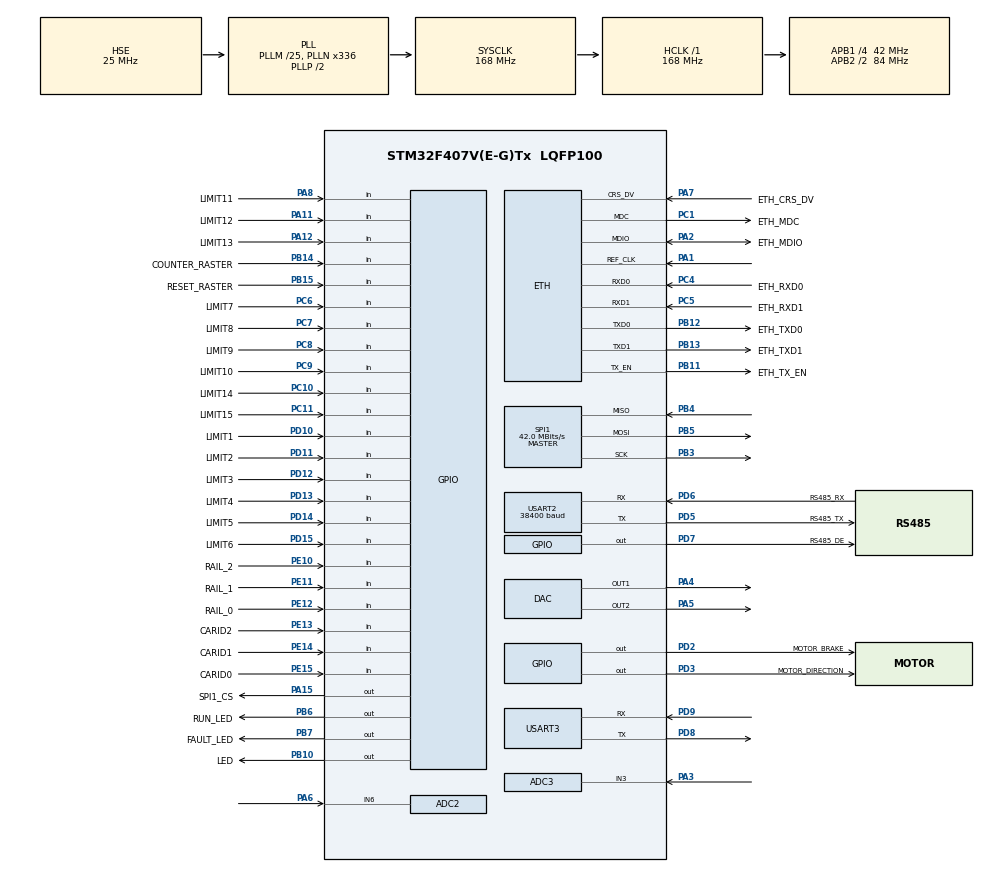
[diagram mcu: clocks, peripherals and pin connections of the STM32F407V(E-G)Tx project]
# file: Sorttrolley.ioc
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ADC2.Channel-0\#ChannelRegularConversion=ADC_CHANNEL_6
ADC2.ContinuousConvMode=ENABLE
ADC2.DMAContinuousRequests=ENABLE
ADC2.NbrOfConversion=1
ADC2.NbrOfConversionFlag=1
ADC2.Rank-0\#ChannelRegularConversion=1
ADC2.SamplingTime-0\#ChannelRegularConversion=ADC_SAMPLETIME_3CYCLES
ADC3.Channel-1\#ChannelRegularConversion=ADC_CHANNEL_3
ADC3.ContinuousConvMode=ENABLE
ADC3.DMAContinuousRequests=ENABLE
ADC3.NbrOfConversionFlag=1
ADC3.Rank-1\#ChannelRegularConversion=1
ADC3.SamplingTime-1\#ChannelRegularConversion=ADC_SAMPLETIME_3CYCLES
DAC.DAC_Trigger2=DAC_TRIGGER_NONE
Dma.ADC2.0.Direction=DMA_PERIPH_TO_MEMORY
Dma.ADC2.0.FIFOMode=DMA_FIFOMODE_DISABLE
Dma.ADC2.0.Instance=DMA2_Stream2
Dma.ADC2.0.MemDataAlignment=DMA_MDATAALIGN_HALFWORD
Dma.ADC2.0.MemInc=DMA_MINC_ENABLE
Dma.ADC2.0.Mode=DMA_CIRCULAR
Dma.ADC2.0.PeriphDataAlignment=DMA_PDATAALIGN_HALFWORD
Dma.ADC2.0.PeriphInc=DMA_PINC_DISABLE
Dma.ADC2.0.Priority=DMA_PRIORITY_LOW
Dma.ADC3.1.Direction=DMA_PERIPH_TO_MEMORY
Dma.ADC3.1.FIFOMode=DMA_FIFOMODE_DISABLE
Dma.ADC3.1.Instance=DMA2_Stream0
Dma.ADC3.1.MemDataAlignment=DMA_MDATAALIGN_HALFWORD
Dma.ADC3.1.MemInc=DMA_MINC_ENABLE
Dma.ADC3.1.Mode=DMA_CIRCULAR
Dma.ADC3.1.PeriphDataAlignment=DMA_PDATAALIGN_HALFWORD
Dma.ADC3.1.PeriphInc=DMA_PINC_DISABLE
Dma.ADC3.1.Priority=DMA_PRIORITY_LOW
Dma.Request0=ADC2
Dma.Request1=ADC3
Dma.Request2=USART2_TX
Dma.USART2_TX.2.Direction=DMA_MEMORY_TO_PERIPH
Dma.USART2_TX.2.FIFOMode=DMA_FIFOMODE_DISABLE
Dma.USART2_TX.2.Instance=DMA1_Stream6
Dma.USART2_TX.2.MemDataAlignment=DMA_MDATAALIGN_BYTE
Dma.USART2_TX.2.MemInc=DMA_MINC_ENABLE
Dma.USART2_TX.2.Mode=DMA_NORMAL
Dma.USART2_TX.2.PeriphDataAlignment=DMA_PDATAALIGN_BYTE
Dma.USART2_TX.2.PeriphInc=DMA_PINC_DISABLE
Dma.USART2_TX.2.Priority=DMA_PRIORITY_LOW
ETH.MediaInterface=HAL_ETH_RMII_MODE
ETH.PHY_Name_RMII=DP83848_PHY_ADDRESS
ETH.RxMode=ETH_RXINTERRUPT_MODE
FREERTOS.Tasks01=defaultTask,0,512,StartDefaultTask,Default,NULL,Dynamic,NULL,NULL
FREERTOS.configENABLE_FPU=1
FREERTOS.configMAX_TASK_NAME_LEN=32
FREERTOS.configMINIMAL_STACK_SIZE=256
FREERTOS.configQUEUE_REGISTRY_SIZE=16
FREERTOS.configTIMER_TASK_STACK_DEPTH=256
FREERTOS.configTOTAL_HEAP_SIZE=51200
FREERTOS.configUSE_COUNTING_SEMAPHORES=1
FREERTOS.configUSE_TIMERS=1
IWDG.Prescaler=IWDG_PRESCALER_32
IWDG.Reload=1200
LWIP.BSP.number=1
LWIP.GATEWAY_ADDRESS=192.168.010.001
LWIP.IP_ADDRESS=192.168.010.109
LWIP.LWIP_DHCP=0
LWIP.LWIP_NETIF_STATUS_CALLBACK=1
LWIP.NETMASK_ADDRESS=255.255.255.000
LWIP.Version=v2.1.2_Cube
LWIP0.BSP.STBoard=false
LWIP0.BSP.api=BSP_COMPONENT_DRIVER
LWIP0.BSP.component=DP83848
LWIP0.BSP.instance=DP83848
LWIP0.BSP.name=Driver_PHY
LWIP0.BSP.semaphore=S_DP83848
LWIP0.BSP.solution=DP83848
Mcu.Family=STM32F4
Mcu.Name=STM32F407V(E-G)Tx
Mcu.Package=LQFP100
NVIC.DMA1_Stream6_IRQn=true\:5\:0\:false\:false\:true\:true\:false\:true\:true
NVIC.DMA2_Stream0_IRQn=true\:5\:0\:false\:false\:true\:true\:false\:true\:true
NVIC.DMA2_Stream2_IRQn=true\:5\:0\:false\:false\:true\:true\:false\:true\:true
NVIC.ETH_IRQn=true\:5\:0\:false\:false\:true\:true\:false\:true\:true
NVIC.PriorityGroup=NVIC_PRIORITYGROUP_4
NVIC.TIM2_IRQn=true\:5\:0\:false\:false\:true\:true\:true\:true\:true
NVIC.TIM7_IRQn=true\:15\:0\:false\:false\:true\:false\:false\:true\:true
NVIC.TimeBase=TIM7_IRQn
NVIC.TimeBaseIP=TIM7
NVIC.USART2_IRQn=true\:5\:0\:false\:false\:true\:true\:true\:true\:true
PA1.Mode=RMII
PA1.Signal=ETH_REF_CLK
PA11.GPIO_Label=LIMIT12
PA11.Signal=GPIO_Input
PA12.GPIO_Label=LIMIT13
PA12.Signal=GPIO_Input
PA13.Mode=Serial_Wire
PA13.Signal=SYS_JTMS-SWDIO
PA14.Mode=Serial_Wire
PA14.Signal=SYS_JTCK-SWCLK
PA15.GPIO_Label=SPI1_CS
PA15.GPIO_Speed=GPIO_SPEED_FREQ_HIGH
PA15.Signal=GPIO_Output
PA2.GPIO_Label=ETH_MDIO
PA2.Mode=RMII
PA2.Signal=ETH_MDIO
PA3.Signal=ADCx_IN3
PA4.Signal=COMP_DAC1_group
PA5.Signal=COMP_DAC2_group
PA6.Signal=ADCx_IN6
PA7.GPIO_Label=ETH_CRS_DV
PA7.Mode=RMII
PA7.Signal=ETH_CRS_DV
PA8.GPIO_Label=LIMIT11
PA8.Signal=GPIO_Input
PB10.GPIO_Label=LED
PB10.GPIO_Speed=GPIO_SPEED_FREQ_HIGH
PB10.Signal=GPIO_Output
PB11.GPIO_Label=ETH_TX_EN
PB11.Mode=RMII
PB11.Signal=ETH_TX_EN
PB12.GPIO_Label=ETH_TXD0
PB12.Mode=RMII
PB12.Signal=ETH_TXD0
PB13.GPIO_Label=ETH_TXD1
PB13.Mode=RMII
PB13.Signal=ETH_TXD1
PB14.GPIO_Label=COUNTER_RASTER
PB14.Signal=GPIO_Input
PB15.GPIO_Label=RESET_RASTER
PB15.Signal=GPIO_Input
PB3.Mode=Full_Duplex_Master
PB3.Signal=SPI1_SCK
PB4.Mode=Full_Duplex_Master
PB4.Signal=SPI1_MISO
PB5.Mode=Full_Duplex_Master
PB5.Signal=SPI1_MOSI
PB6.GPIO_Label=RUN_LED
PB6.GPIO_Speed=GPIO_SPEED_FREQ_HIGH
PB6.PinState=GPIO_PIN_SET
PB6.Signal=GPIO_Output
PB7.GPIO_Label=FAULT_LED
PB7.GPIO_Speed=GPIO_SPEED_FREQ_HIGH
PB7.Signal=GPIO_Output
PC1.GPIO_Label=ETH_MDC
PC1.Mode=RMII
PC1.Signal=ETH_MDC
PC10.GPIO_Label=LIMIT14
PC10.Signal=GPIO_Input
PC11.GPIO_Label=LIMIT15
PC11.Signal=GPIO_Input
PC14-OSC32_IN.Mode=LSE-External-Oscillator
PC14-OSC32_IN.Signal=RCC_OSC32_IN
PC15-OSC32_OUT.Mode=LSE-External-Oscillator
PC15-OSC32_OUT.Signal=RCC_OSC32_OUT
PC4.GPIO_Label=ETH_RXD0
PC4.Mode=RMII
PC4.Signal=ETH_RXD0
PC5.GPIO_Label=ETH_RXD1
PC5.Mode=RMII
PC5.Signal=ETH_RXD1
PC6.GPIO_Label=LIMIT7
PC6.Signal=GPIO_Input
PC7.GPIO_Label=LIMIT8
PC7.Signal=GPIO_Input
PC8.GPIO_Label=LIMIT9
PC8.Signal=GPIO_Input
PC9.GPIO_Label=LIMIT10
PC9.Signal=GPIO_Input
PD10.GPIO_Label=LIMIT1
PD10.Signal=GPIO_Input
PD11.GPIO_Label=LIMIT2
PD11.Signal=GPIO_Input
PD12.GPIO_Label=LIMIT3
PD12.Signal=GPIO_Input
PD13.GPIO_Label=LIMIT4
PD13.Signal=GPIO_Input
PD14.GPIO_Label=LIMIT5
PD14.Signal=GPIO_Input
PD15.GPIO_Label=LIMIT6
PD15.Signal=GPIO_Input
PD2.GPIO_Label=MOTOR_BRAKE
PD2.GPIO_Speed=GPIO_SPEED_FREQ_HIGH
PD2.PinState=GPIO_PIN_SET
PD2.Signal=GPIO_Output
PD3.GPIO_Label=MOTOR_DIRECTION
PD3.GPIO_Speed=GPIO_SPEED_FREQ_HIGH
PD3.PinState=GPIO_PIN_SET
PD3.Signal=GPIO_Output
PD5.GPIO_Label=RS485_TX
PD5.Mode=Asynchronous
PD5.Signal=USART2_TX
PD6.GPIO_Label=RS485_RX
PD6.Mode=Asynchronous
PD6.Signal=USART2_RX
PD7.GPIO_Label=RS485_DE
PD7.GPIO_Speed=GPIO_SPEED_FREQ_HIGH
PD7.PinState=GPIO_PIN_SET
PD7.Signal=GPIO_Output
PD8.Mode=Asynchronous
PD8.Signal=USART3_TX
PD9.Mode=Asynchronous
PD9.Signal=USART3_RX
PE10.GPIO_Label=RAIL_2
PE10.Signal=GPIO_Input
PE11.GPIO_Label=RAIL_1
PE11.Signal=GPIO_Input
PE12.GPIO_Label=RAIL_0
PE12.Signal=GPIO_Input
PE13.GPIO_Label=CARID2
PE13.Signal=GPIO_Input
PE14.GPIO_Label=CARID1
PE14.Signal=GPIO_Input
PE15.GPIO_Label=CARID0
PE15.Signal=GPIO_Input
PH0-OSC_IN.Mode=HSE-External-Oscillator
PH0-OSC_IN.Signal=RCC_OSC_IN
PH1-OSC_OUT.Mode=HSE-External-Oscillator
PH1-OSC_OUT.Signal=RCC_OSC_OUT
ProjectManager.HeapSize=0x400
ProjectManager.StackSize=0x800
ProjectManager.TargetToolchain=MDK-ARM V5.27
RCC.48MHZClocksFreq_Value=84000000
RCC.AHBFreq_Value=168000000
RCC.APB1CLKDivider=RCC_HCLK_DIV4
RCC.APB1Freq_Value=42000000
RCC.APB1TimFreq_Value=84000000
RCC.APB2CLKDivider=RCC_HCLK_DIV2
RCC.APB2Freq_Value=84000000
RCC.APB2TimFreq_Value=168000000
RCC.CortexFreq_Value=168000000
RCC.HCLKFreq_Value=168000000
RCC.HSE_VALUE=25000000
RCC.HSI_VALUE=16000000
RCC.PLLM=25
RCC.PLLN=336
RCC.PLLSourceVirtual=RCC_PLLSOURCE_HSE
RCC.SYSCLKFreq_VALUE=168000000
RCC.SYSCLKSource=RCC_SYSCLKSOURCE_PLLCLK
RCC.VCOOutputFreq_Value=336000000
SH.ADCx_IN3.0=ADC3_IN3,IN3
SH.ADCx_IN6.0=ADC2_IN6,IN6
SH.COMP_DAC1_group.0=DAC_OUT1,DAC_OUT1
SH.COMP_DAC2_group.0=DAC_OUT2,DAC_OUT2
SPI1.CalculateBaudRate=42.0 MBits/s
SPI1.Direction=SPI_DIRECTION_2LINES
SPI1.Mode=SPI_MODE_MASTER
SPI1.VirtualType=VM_MASTER
TIM2.AutoReloadPreload=TIM_AUTORELOAD_PRELOAD_ENABLE
TIM2.Period=10-1
TIM2.Prescaler=8400-1
USART2.BaudRate=38400
USART2.VirtualMode=VM_ASYNC
USART3.VirtualMode=VM_ASYNC
VP_FREERTOS_VS_CMSIS_V1.Mode=CMSIS_V1
VP_IWDG_VS_IWDG.Mode=IWDG_Activate
VP_LWIP_VS_Enabled.Mode=Enabled
VP_SYS_VS_tim7.Mode=TIM7
VP_TIM2_VS_ClockSourceINT.Mode=Internal
board=custom

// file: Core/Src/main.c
/* USER CODE BEGIN Header */
/**
  ******************************************************************************
  * @file           : main.c
  * @brief          : Main program body
  ******************************************************************************
  * @attention
  *
  * Copyright (c) 2022 STMicroelectronics.
  * All rights reserved.
  *
  * This software is licensed under terms that can be found in the LICENSE file
  * in the root directory of this software component.
  * If no LICENSE file comes with this software, it is provided AS-IS.
  *
  ******************************************************************************
  */
/* USER CODE END Header */
#include "main.h"
#include "cmsis_os.h"
#include "adc.h"
#include "dac.h"
#include "dma.h"
#include "iwdg.h"
#include "lwip.h"
#include "spi.h"
#include "tim.h"
#include "usart.h"
#include "gpio.h"

/* USER CODE BEGIN Includes */
#include "app_car_control.h"
#include "iwdg_driver.h"
/* USER CODE END Includes */

void SystemClock_Config(void);
void MX_FREERTOS_Init(void);

int main(void)
{

  /* MCU Configuration--------------------------------------------------------*/

  /* Reset of all peripherals, Initializes the Flash interface and the Systick. */
  HAL_Init();

  /* Configure the system clock */
  SystemClock_Config();

  /* Initialize all configured peripherals */
  MX_GPIO_Init();
  MX_DMA_Init();
  MX_USART2_UART_Init();
  MX_DAC_Init();
  MX_USART3_UART_Init();
  MX_TIM2_Init();
  MX_SPI1_Init();
  MX_ADC2_Init();
  MX_ADC3_Init();
  MX_IWDG_Init();
  /* USER CODE BEGIN 2 */
	iwdg_feeddog();
  /* USER CODE END 2 */

  /* Call init function for freertos objects (in freertos.c) */
  MX_FREERTOS_Init();

  /* Start scheduler */
  osKernelStart();

  /* We should never get here as control is now taken by the scheduler */
  /* Infinite loop */
  while (1)
  {

  }
}

void SystemClock_Config(void)
{
  RCC_OscInitTypeDef RCC_OscInitStruct = {0};
  RCC_ClkInitTypeDef RCC_ClkInitStruct = {0};

  /** Configure the main internal regulator output voltage
  */
  __HAL_RCC_PWR_CLK_ENABLE();
  __HAL_PWR_VOLTAGESCALING_CONFIG(PWR_REGULATOR_VOLTAGE_SCALE1);

  /** Initializes the RCC Oscillators according to the specified parameters
  * in the RCC_OscInitTypeDef structure.
  */
  RCC_OscInitStruct.OscillatorType = RCC_OSCILLATORTYPE_LSI|RCC_OSCILLATORTYPE_HSE;
  RCC_OscInitStruct.HSEState = RCC_HSE_ON;
  RCC_OscInitStruct.LSIState = RCC_LSI_ON;
  RCC_OscInitStruct.PLL.PLLState = RCC_PLL_ON;
  RCC_OscInitStruct.PLL.PLLSource = RCC_PLLSOURCE_HSE;
  RCC_OscInitStruct.PLL.PLLM = 25;
  RCC_OscInitStruct.PLL.PLLN = 336;
  RCC_OscInitStruct.PLL.PLLP = RCC_PLLP_DIV2;
  RCC_OscInitStruct.PLL.PLLQ = 4;
  if (HAL_RCC_OscConfig(&RCC_OscInitStruct) != HAL_OK)
  {
    Error_Handler();
  }

  /** Initializes the CPU, AHB and APB buses clocks
  */
  RCC_ClkInitStruct.ClockType = RCC_CLOCKTYPE_HCLK|RCC_CLOCKTYPE_SYSCLK
                              |RCC_CLOCKTYPE_PCLK1|RCC_CLOCKTYPE_PCLK2;
  RCC_ClkInitStruct.SYSCLKSource = RCC_SYSCLKSOURCE_PLLCLK;
  RCC_ClkInitStruct.AHBCLKDivider = RCC_SYSCLK_DIV1;
  RCC_ClkInitStruct.APB1CLKDivider = RCC_HCLK_DIV4;
  RCC_ClkInitStruct.APB2CLKDivider = RCC_HCLK_DIV2;

  if (HAL_RCC_ClockConfig(&RCC_ClkInitStruct, FLASH_LATENCY_5) != HAL_OK)
  {
    Error_Handler();
  }
}

void HAL_TIM_PeriodElapsedCallback(TIM_HandleTypeDef *htim)
{
  /* USER CODE BEGIN Callback 0 */
	if(htim->Instance == TIM2)
	{
		//处理光栅计数、车速闭环控制、限位检测
		handle_tim_irq();
	}
  /* USER CODE END Callback 0 */
  if (htim->Instance == TIM7) {
    HAL_IncTick();
  }
}

void Error_Handler(void)
{
  /* USER CODE BEGIN Error_Handler_Debug */
  /* User can add his own implementation to report the HAL error return state */
//  __disable_irq();
//  while (1)
//  {
//  }
  /* USER CODE END Error_Handler_Debug */
}

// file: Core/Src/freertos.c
/* USER CODE BEGIN Header */
/**
  ******************************************************************************
  * File Name          : freertos.c
  * Description        : Code for freertos applications
  ******************************************************************************
  * @attention
  *
  * Copyright (c) 2022 STMicroelectronics.
  * All rights reserved.
  *
  * This software is licensed under terms that can be found in the LICENSE file
  * in the root directory of this software component.
  * If no LICENSE file comes with this software, it is provided AS-IS.
  *
  ******************************************************************************
  */
/* USER CODE END Header */

#include "FreeRTOS.h"
#include "task.h"
#include "main.h"
#include "cmsis_os.h"

/* USER CODE BEGIN Includes */
#include <stdio.h>
#include "system_tick.h"
#include "app_rs485.h"
#include "app_modbustcp_tx_rx.h"
#include "app_car_control.h"
#include "motor_driver.h"
#include "led_driver.h"
#include "raster_driver.h"
#include "app_eth_tcp_udp.h"
#include "app_diagnosis.h"
#include "easyflash.h"
#include "iwdg_driver.h"
#include "app_mqtt_tx.h"
#include "app_mqtt_rx.h"
#include "flash_parameter.h"
#include "usart_dma_driver.h"
/* USER CODE END Includes */

/* USER CODE BEGIN PD */
#define DEBUG_FREERTOS  // printf
#ifdef DEBUG_FREERTOS
#define print_freertos_log(fmt, ...) printf(fmt, ##__VA_ARGS__)
#else
#define print_freertos_log(fmt, ...)
#endif
/* USER CODE END PD */

/* USER CODE BEGIN PM */
#define PRINT_TICK_PERIOD	1000
/* USER CODE END PM */

/* USER CODE BEGIN Variables */
void rt_show_version(void)
{
    printf("\n \\ | /\n");
    printf("- FreeRtos  Thread Operating System\n");
    printf(" / | \\     osCMSIS:%d.%02d,%s\n",
    		(osCMSIS>>16),(osCMSIS&0xffff),osKernelSystemId);
    printf("sort trolley systemboard software version: %d,haraware version: %d\r\n",RT_SOFTWARE_VERSION,RT_HARDWARE_VERSION);
    printf("sort trolley systemboard build %s\r\n",__DATE__);
}
/* USER CODE END Variables */
osThreadId defaultTaskHandle;

/* USER CODE BEGIN FunctionPrototypes */
osThreadId carHandle;
osThreadId rs485Handle;
osThreadId ethHandle;
osThreadId diagnosisHandle;
osThreadId mqttTxHandle;
osThreadId mqttRXHandle;
/* USER CODE END FunctionPrototypes */

void StartDefaultTask(void const * argument);

extern void MX_LWIP_Init(void);
void MX_FREERTOS_Init(void); /* (MISRA C 2004 rule 8.1) */

/* GetIdleTaskMemory prototype (linked to static allocation support) */
void vApplicationGetIdleTaskMemory( StaticTask_t **ppxIdleTaskTCBBuffer, StackType_t **ppxIdleTaskStackBuffer, uint32_t *pulIdleTaskStackSize );

/* GetTimerTaskMemory prototype (linked to static allocation support) */
void vApplicationGetTimerTaskMemory( StaticTask_t **ppxTimerTaskTCBBuffer, StackType_t **ppxTimerTaskStackBuffer, uint32_t *pulTimerTaskStackSize );

/* USER CODE BEGIN GET_IDLE_TASK_MEMORY */
static StaticTask_t xIdleTaskTCBBuffer;
static StackType_t xIdleStack[configMINIMAL_STACK_SIZE];

void vApplicationGetIdleTaskMemory( StaticTask_t **ppxIdleTaskTCBBuffer, StackType_t **ppxIdleTaskStackBuffer, uint32_t *pulIdleTaskStackSize )
{
  *ppxIdleTaskTCBBuffer = &xIdleTaskTCBBuffer;
  *ppxIdleTaskStackBuffer = &xIdleStack[0];
  *pulIdleTaskStackSize = configMINIMAL_STACK_SIZE;
  /* place for user code */
}
/* USER CODE END GET_IDLE_TASK_MEMORY */

/* USER CODE BEGIN GET_TIMER_TASK_MEMORY */
static StaticTask_t xTimerTaskTCBBuffer;
static StackType_t xTimerStack[configTIMER_TASK_STACK_DEPTH];

void vApplicationGetTimerTaskMemory( StaticTask_t **ppxTimerTaskTCBBuffer, StackType_t **ppxTimerTaskStackBuffer, uint32_t *pulTimerTaskStackSize )
{
  *ppxTimerTaskTCBBuffer = &xTimerTaskTCBBuffer;
  *ppxTimerTaskStackBuffer = &xTimerStack[0];
  *pulTimerTaskStackSize = configTIMER_TASK_STACK_DEPTH;
  /* place for user code */
}
/* USER CODE END GET_TIMER_TASK_MEMORY */

void MX_FREERTOS_Init(void) {
  /* USER CODE BEGIN Init */
    EfErrCode res;
    rt_show_version();
	init_motor();
    creat_flash_manager_dev();
	res = easyflash_init();
    init_app_flash(res);
    rt_hw_usart_dma_init(_USART2_DEVICE_INDEX, NULL);
	iwdg_feeddog();
  /* USER CODE END Init */

  /* USER CODE BEGIN RTOS_SEMAPHORES */
  /* add semaphores, ... */
	init_set_data_manager();
	init_app485_data_manager();
	init_mqtt_rx_msg_mq();
  /* USER CODE END RTOS_SEMAPHORES */

  /* Create the thread(s) */
  /* definition and creation of defaultTask */
  osThreadDef(defaultTask, StartDefaultTask, osPriorityNormal, 0, 512);
  defaultTaskHandle = osThreadCreate(osThread(defaultTask), NULL);

  /* USER CODE BEGIN RTOS_THREADS */
  /* add threads, ... */

	osThreadDef(car_control, task_car_control, osPriorityNormal, 0, 512);
	carHandle = osThreadCreate(osThread(car_control), NULL);

	osThreadDef(rs485_rx_tx, task_rs485_tx, osPriorityAboveNormal, 0, 512);
	rs485Handle = osThreadCreate(osThread(rs485_rx_tx), NULL);

	osThreadDef(eth_task, task_eth_tcp_udp, osPriorityNormal, 0, 512);
	ethHandle = osThreadCreate(osThread(eth_task), NULL);

	osThreadDef(diagnosis_task, task_diagnosis, osPriorityNormal, 0, 256);
	diagnosisHandle = osThreadCreate(osThread(diagnosis_task), NULL);

	osThreadDef(mqttTx_task, task_mqtt_tx, osPriorityNormal, 0, 512);
	mqttTxHandle = osThreadCreate(osThread(mqttTx_task), NULL);

	osThreadDef(mqttRx_task, task_mqtt_rx, osPriorityNormal, 0, 256);
	mqttRXHandle = osThreadCreate(osThread(mqttRx_task), NULL);

  /* USER CODE END RTOS_THREADS */

}

void StartDefaultTask(void const * argument)
{
  /* init code for LWIP */
  MX_LWIP_Init();
  /* USER CODE BEGIN StartDefaultTask */
	uint64_t tick_pre = 0, tick_cur = 0, tick_led_pre = 0;
  /* Infinite loop */
  for(;;)
  {
	tick_cur = get_systick_time();
	if(tick_cur - tick_pre >= PRINT_TICK_PERIOD)
	{
		tick_pre = tick_cur;
		print_freertos_log("\r\n-----ticks:%d-----\r\n", (uint32_t )tick_cur);
	}
	tick_led_pre = set_led_control(tick_cur, tick_led_pre);
	osDelay(10);
  }
  /* USER CODE END StartDefaultTask */
}
